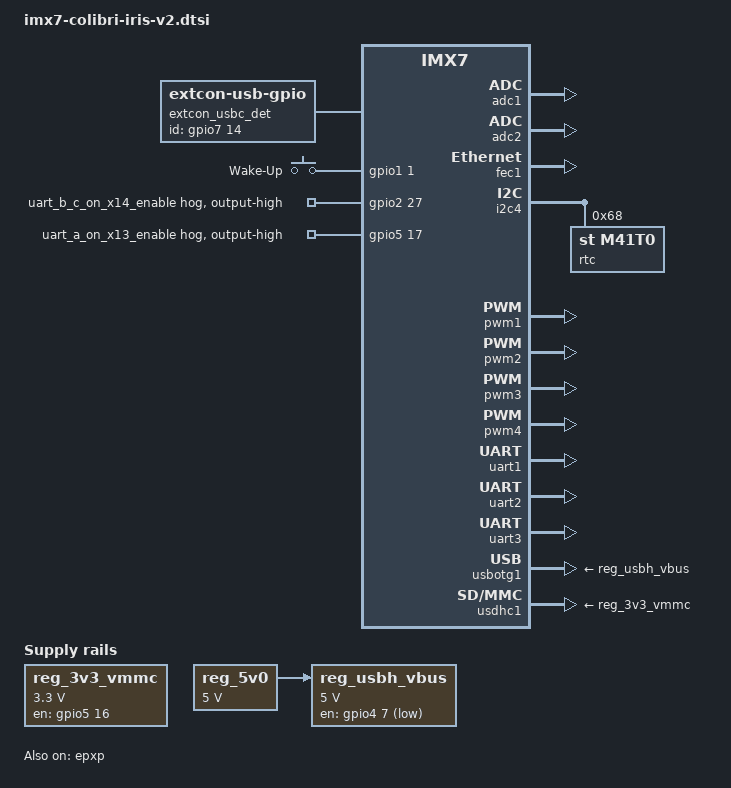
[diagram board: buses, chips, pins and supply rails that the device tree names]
// SPDX-License-Identifier: GPL-2.0+ OR MIT
/*
 * Copyright 2018-2021 Toradex
 */

#include <dt-bindings/input/input.h>

/ {
	chosen {
		bootargs = "console=ttymxc0,115200";
	};

	extcon_usbc_det: usbc_det {
		compatible = "linux,extcon-usb-gpio";
		debounce = <25>;
		id-gpio = <&gpio7 14 GPIO_ACTIVE_HIGH>;
		pinctrl-names = "default";
		pinctrl-0 = <&pinctrl_usbc_det>;
	};

	gpio-keys {
		compatible = "gpio-keys";
		pinctrl-names = "default";
		pinctrl-0 = <&pinctrl_gpiokeys>;

		power {
			label = "Wake-Up";
			gpios = <&gpio1 1 (GPIO_ACTIVE_HIGH | GPIO_PULL_DOWN)>;
			linux,code = <KEY_WAKEUP>;
			debounce-interval = <10>;
			gpio-key,wakeup;
		};
	};

	reg_3v3_vmmc: regulator-3v3-vmmc {
		compatible = "regulator-fixed";
		regulator-name = "3v3_vmmc";
		regulator-min-microvolt = <3300000>;
		regulator-max-microvolt = <3300000>;
		gpio = <&gpio5 16 GPIO_ACTIVE_HIGH>;
		startup-delay-us = <100>;
		enable-active-high;
	};

	reg_5v0: regulator-5v0 {
		compatible = "regulator-fixed";
		regulator-name = "5V";
		regulator-min-microvolt = <5000000>;
		regulator-max-microvolt = <5000000>;
	};

	reg_usbh_vbus: regulator-usbh-vbus {
		compatible = "regulator-fixed";
		pinctrl-names = "default";
		pinctrl-0 = <&pinctrl_usbh_reg>;
		regulator-name = "VCC_USB[1-4]";
		regulator-min-microvolt = <5000000>;
		regulator-max-microvolt = <5000000>;
		gpio = <&gpio4 7 GPIO_ACTIVE_LOW>;
		vin-supply = <&reg_5v0>;
	};
};

&adc1 {
	status = "okay";
};

&adc2 {
	status = "okay";
};

&epxp {
	status = "okay";
};

&fec1 {
	status = "okay";
};

&gpio2 {
	/*
	 * uart_b_c_on_x14_enable turns the UART transceiver for UART_B and
	 * UART_C on. If one wants to turn the transceiver off, that property
	 * has to be deleted and the gpio handled in userspace.
	 * The same applies to uart_a_on_x13_enable where the UART_A
	 * transceiver is turned on.
	 */
	uart_b_c_on_x14_enable {
		gpio-hog;
		gpios = <27 GPIO_ACTIVE_HIGH>; /* SODIMM 104 */
		output-high;
	};
};

&gpio5 {
	uart_a_on_x13_enable {
		gpio-hog;
		gpios = <17 GPIO_ACTIVE_HIGH>; /* SODIMM 102 */
		output-high;
	};
};

&i2c4 {
	status = "okay";

	/* M41T0M6 real time clock on carrier board */
	rtc: m41t0m6@68 {
		compatible = "st,m41t0";
		reg = <0x68>;
	};
};

&pwm1 {
	status = "okay";
};

&pwm2 {
	status = "okay";
};

&pwm3 {
	status = "okay";
};

&pwm4 {
	status = "okay";
};

&uart1 {
	status = "okay";
};

&uart2 {
	status = "okay";
};

&uart3 {
	status = "okay";
};

&usbotg1 {
	extcon = <&extcon_usbc_det>, <&extcon_usbc_det>;
	vbus-supply = <&reg_usbh_vbus>;
	status = "okay";
};

&usdhc1 {
	cap-power-off-card;
	/delete-property/ keep-power-in-suspend;
	/delete-property/ no-1-8-v;
	vmmc-supply = <&reg_3v3_vmmc>;
	status = "okay";
};
